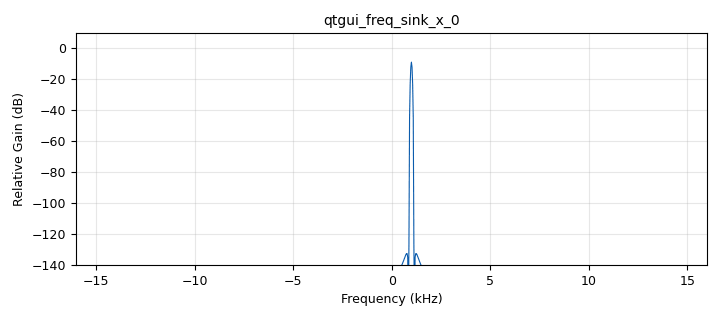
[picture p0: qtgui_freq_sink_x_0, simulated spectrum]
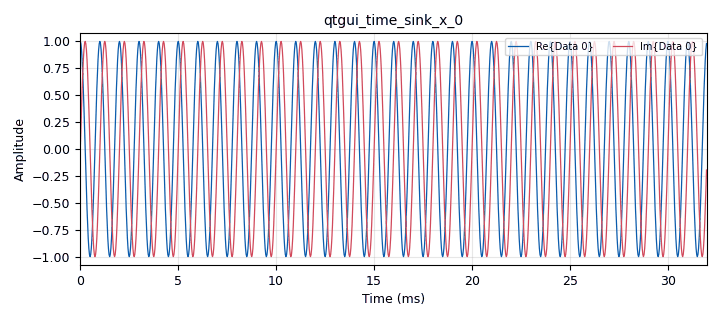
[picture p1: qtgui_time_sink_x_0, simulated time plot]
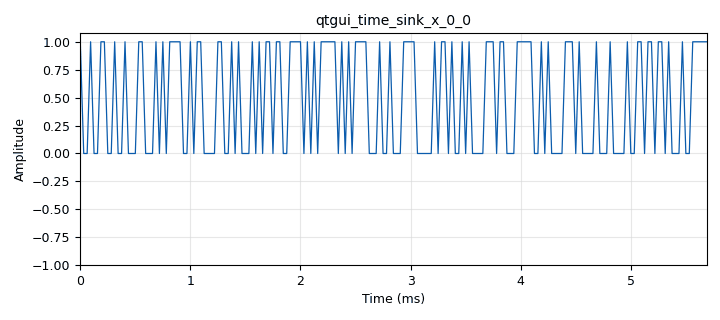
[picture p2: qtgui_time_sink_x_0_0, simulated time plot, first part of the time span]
options:
  parameters:
    author: mineev
    generate_options: qt_gui
    id: complexex
    output_language: python
    title: Not titled yet
  states: {}

blocks:
- name: samp_rate
  id: variable
  parameters:
    value: '32000'
  states: {}
- name: analog_random_source_x_0
  id: analog_random_source_x
  parameters:
    max: '2'
    min: '0'
    num_samps: '1000'
    repeat: 'True'
    type: byte
  states: {}
- name: analog_sig_source_x_0
  id: analog_sig_source_x
  parameters:
    amp: '1'
    freq: '1000'
    offset: '0'
    phase: '0'
    samp_rate: samp_rate
    type: complex
    waveform: analog.GR_COS_WAVE
  states: {}
- name: blocks_char_to_float_0
  id: blocks_char_to_float
  parameters:
    scale: '1'
  states: {}
- name: blocks_throttle2_0
  id: blocks_throttle2
  parameters:
    samples_per_second: samp_rate
    type: complex
  states: {}
- name: blocks_throttle2_0_0
  id: blocks_throttle2
  parameters:
    samples_per_second: samp_rate
    type: byte
  states: {}
- name: qtgui_freq_sink_x_0
  id: qtgui_freq_sink_x
  parameters:
    bw: samp_rate
    fc: '0'
    fftsize: '1024'
    type: complex
  states: {}
- name: qtgui_time_sink_x_0
  id: qtgui_time_sink_x
  parameters:
    size: '1024'
    srate: samp_rate
    type: complex
  states: {}
- name: qtgui_time_sink_x_0_0
  id: qtgui_time_sink_x
  parameters:
    size: '1024'
    srate: samp_rate
    type: float
  states: {}

connections:
- [analog_random_source_x_0, '0', blocks_throttle2_0_0, '0']
- [analog_sig_source_x_0, '0', blocks_throttle2_0, '0']
- [blocks_char_to_float_0, '0', qtgui_time_sink_x_0_0, '0']
- [blocks_throttle2_0, '0', qtgui_freq_sink_x_0, '0']
- [blocks_throttle2_0, '0', qtgui_time_sink_x_0, '0']
- [blocks_throttle2_0_0, '0', blocks_char_to_float_0, '0']

metadata:
  file_format: 1
  grc_version: 3.10.7.0
